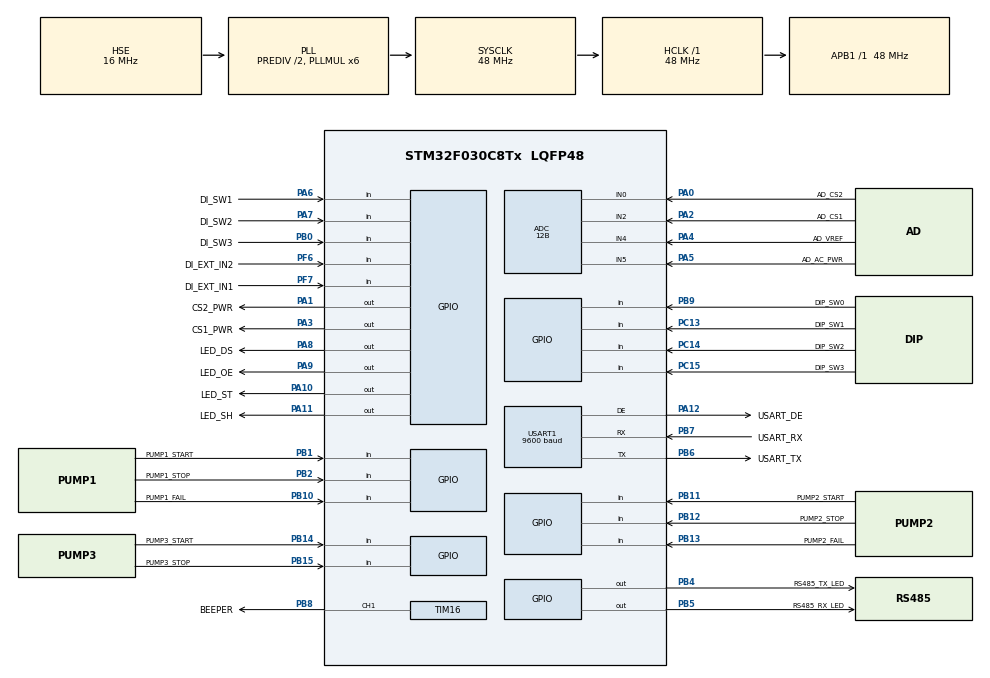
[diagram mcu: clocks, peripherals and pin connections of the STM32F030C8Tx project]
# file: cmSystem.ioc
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ADC.ClockPrescaler=ADC_CLOCK_ASYNC_DIV1
ADC.ContinuousConvMode=DISABLE
ADC.DMAContinuousRequests=ENABLE
ADC.DataAlign=ADC_DATAALIGN_RIGHT
ADC.DiscontinuousConvMode=DISABLE
ADC.EOCSelection=ADC_EOC_SEQ_CONV
ADC.EnableAnalogWatchDog=false
ADC.ExternalTrigConv=ADC_EXTERNALTRIGCONV_T15_TRGO
ADC.ExternalTrigConvEdge=ADC_EXTERNALTRIGCONVEDGE_RISING
ADC.LowPowerAutoPowerOff=DISABLE
ADC.LowPowerAutoWait=DISABLE
ADC.Overrun=ADC_OVR_DATA_OVERWRITTEN
ADC.Resolution=ADC_RESOLUTION_12B
ADC.SamplingTime=ADC_SAMPLETIME_71CYCLES_5
ADC.ScanConvMode=ADC_SCAN_DIRECTION_BACKWARD
Dma.ADC.0.Direction=DMA_PERIPH_TO_MEMORY
Dma.ADC.0.Instance=DMA1_Channel1
Dma.ADC.0.MemDataAlignment=DMA_MDATAALIGN_WORD
Dma.ADC.0.MemInc=DMA_MINC_ENABLE
Dma.ADC.0.Mode=DMA_CIRCULAR
Dma.ADC.0.PeriphDataAlignment=DMA_PDATAALIGN_WORD
Dma.ADC.0.PeriphInc=DMA_PINC_DISABLE
Dma.ADC.0.Priority=DMA_PRIORITY_LOW
Dma.Request0=ADC
Dma.Request1=USART1_RX
Dma.USART1_RX.1.Direction=DMA_PERIPH_TO_MEMORY
Dma.USART1_RX.1.Instance=DMA1_Channel3
Dma.USART1_RX.1.MemDataAlignment=DMA_MDATAALIGN_BYTE
Dma.USART1_RX.1.MemInc=DMA_MINC_ENABLE
Dma.USART1_RX.1.Mode=DMA_NORMAL
Dma.USART1_RX.1.PeriphDataAlignment=DMA_PDATAALIGN_BYTE
Dma.USART1_RX.1.PeriphInc=DMA_PINC_DISABLE
Dma.USART1_RX.1.Priority=DMA_PRIORITY_LOW
FREERTOS.INCLUDE_vTaskDelayUntil=1
FREERTOS.MEMORY_ALLOCATION=1
FREERTOS.Tasks01=defaultTask,-2,64,StartDefaultTask,Default,NULL,Static,defaultTaskBuffer,defaultTaskControlBlock;regularSample,0,64,sampleTask,Default,NULL,Static,regularSampleBuffer,regularSampleControlBlock;LedDisplay,-1,64,DisplayTask,Default,NULL,Static,LedDisplayBuffer,LedDisplayControlBlock
FREERTOS.configMAX_PRIORITIES=4
FREERTOS.configMINIMAL_STACK_SIZE=64
FREERTOS.configUSE_PREEMPTION=0
IWDG.Prescaler=IWDG_PRESCALER_256
IWDG.Reload=300
IWDG.Window=300
Mcu.Family=STM32F0
Mcu.Name=STM32F030C8Tx
Mcu.Package=LQFP48
NVIC.DMA1_Channel1_IRQn=true\:3\:0\:false\:false\:true\:true\:false
NVIC.DMA1_Channel2_3_IRQn=true\:3\:0\:false\:false\:true\:true\:false
NVIC.TIM14_IRQn=true\:3\:0\:false\:false\:true\:true\:true
NVIC.TIM6_IRQn=true\:0\:0\:false\:false\:true\:false\:false
NVIC.TimeBase=TIM6_IRQn
NVIC.TimeBaseIP=TIM6
NVIC.USART1_IRQn=true\:3\:0\:false\:false\:true\:true\:true
PA0.GPIO_Label=AD_CS2
PA0.Mode=IN0
PA0.Signal=ADC_IN0
PA1.GPIO_Label=CS2_PWR
PA1.Signal=GPIO_Output
PA10.GPIO_Label=LED_ST
PA10.Signal=GPIO_Output
PA11.GPIO_Label=LED_SH
PA11.Signal=GPIO_Output
PA12.GPIO_Label=USART_DE
PA12.Mode=Hardware Flow Control (RS485)
PA12.Signal=USART1_DE
PA13.Mode=Serial_Wire
PA13.Signal=SYS_SWDIO
PA14.Mode=Serial_Wire
PA14.Signal=SYS_SWCLK
PA2.GPIO_Label=AD_CS1
PA2.Mode=IN2
PA2.Signal=ADC_IN2
PA3.GPIO_Label=CS1_PWR
PA3.Signal=GPIO_Output
PA4.GPIO_Label=AD_VREF
PA4.Mode=IN4
PA4.Signal=ADC_IN4
PA5.GPIO_Label=AD_AC_PWR
PA5.Mode=IN5
PA5.Signal=ADC_IN5
PA6.GPIO_Label=DI_SW1
PA6.GPIO_PuPd=GPIO_NOPULL
PA6.Signal=GPIO_Input
PA7.GPIO_Label=DI_SW2
PA7.Signal=GPIO_Input
PA8.GPIO_Label=LED_DS
PA8.Signal=GPIO_Output
PA9.GPIO_Label=LED_OE
PA9.Signal=GPIO_Output
PB0.GPIO_Label=DI_SW3
PB0.Signal=GPIO_Input
PB1.GPIO_Label=PUMP1_START
PB1.Signal=GPIO_Input
PB10.GPIO_Label=PUMP1_FAIL
PB10.Signal=GPIO_Input
PB11.GPIO_Label=PUMP2_START
PB11.Signal=GPIO_Input
PB12.GPIO_Label=PUMP2_STOP
PB12.Signal=GPIO_Input
PB13.GPIO_Label=PUMP2_FAIL
PB13.Signal=GPIO_Input
PB14.GPIO_Label=PUMP3_START
PB14.Signal=GPIO_Input
PB15.GPIO_Label=PUMP3_STOP
PB15.Signal=GPIO_Input
PB2.GPIO_Label=PUMP1_STOP
PB2.Signal=GPIO_Input
PB4.GPIO_Label=RS485_TX_LED
PB4.PinState=GPIO_PIN_SET
PB4.Signal=GPIO_Output
PB5.GPIO_Label=RS485_RX_LED
PB5.PinState=GPIO_PIN_SET
PB5.Signal=GPIO_Output
PB6.GPIO_Label=USART_TX
PB6.Mode=Asynchronous
PB6.Signal=USART1_TX
PB7.GPIO_Label=USART_RX
PB7.Mode=Asynchronous
PB7.Signal=USART1_RX
PB8.GPIO_Label=BEEPER
PB8.Signal=S_TIM16_CH1
PB9.GPIO_Label=DIP_SW0
PB9.GPIO_PuPd=GPIO_PULLUP
PB9.Signal=GPIO_Input
PC13.GPIO_Label=DIP_SW1
PC13.GPIO_PuPd=GPIO_PULLUP
PC13.Signal=GPIO_Input
PC14-OSC32_IN.GPIO_Label=DIP_SW2
PC14-OSC32_IN.GPIO_PuPd=GPIO_PULLUP
PC14-OSC32_IN.Signal=GPIO_Input
PC15-OSC32_OUT.GPIO_Label=DIP_SW3
PC15-OSC32_OUT.GPIO_PuPd=GPIO_PULLUP
PC15-OSC32_OUT.Signal=GPIO_Input
PF0-OSC_IN.Mode=HSE-External-Oscillator
PF0-OSC_IN.Signal=RCC_OSC_IN
PF1-OSC_OUT.Mode=HSE-External-Oscillator
PF1-OSC_OUT.Signal=RCC_OSC_OUT
PF6.GPIO_Label=DI_EXT_IN2
PF6.GPIO_PuPd=GPIO_NOPULL
PF6.Signal=GPIO_Input
PF7.GPIO_Label=DI_EXT_IN1
PF7.GPIO_PuPd=GPIO_NOPULL
PF7.Signal=GPIO_Input
ProjectManager.HeapSize=0x200
ProjectManager.StackSize=0x400
ProjectManager.TargetToolchain=MDK-ARM V5
RCC.AHBFreq_Value=48000000
RCC.APB1Freq_Value=48000000
RCC.APB1TimFreq_Value=48000000
RCC.EnbaleCSS=true
RCC.HCLKFreq_Value=48000000
RCC.HSE_VALUE=16000000
RCC.PLLDivider=RCC_PREDIV_DIV2
RCC.PLLMUL=RCC_PLL_MUL6
RCC.PLLSourceVirtual=RCC_PLLSOURCE_HSE
RCC.RTCClockSelection=RCC_RTCCLKSOURCE_HSE_DIV32
RCC.SYSCLKFreq_VALUE=48000000
RCC.SYSCLKSource=RCC_SYSCLKSOURCE_PLLCLK
SH.S_TIM16_CH1.0=TIM16_CH1,PWM Generation1 CH1
TIM14.AutoReloadPreload=TIM_AUTORELOAD_PRELOAD_ENABLE
TIM14.Period=100
TIM14.Prescaler=480
TIM15.AutoReloadPreload=TIM_AUTORELOAD_PRELOAD_ENABLE
TIM15.Channel-PWM\ Generation1\ No\ Output=TIM_CHANNEL_1
TIM15.Period=1000
TIM15.Prescaler=15
TIM15.Pulse-PWM\ Generation1\ No\ Output=1
TIM15.RepetitionCounter=0
TIM15.TIM_MasterOutputTrigger=TIM_TRGO_UPDATE
TIM16.AutoReloadPreload=TIM_AUTORELOAD_PRELOAD_ENABLE
TIM16.Channel=TIM_CHANNEL_1
TIM16.OCIdleState_1=TIM_OCIDLESTATE_RESET
TIM16.Period=100
TIM16.Prescaler=120
TIM16.Pulse=50
TIM16.RepetitionCounter=0
USART1.BaudRate=9600
USART1.StopBits=STOPBITS_2
USART1.VirtualMode-Asynchronous=VM_ASYNC
USART1.VirtualMode-Hardware\ Flow\ Control\ (RS485)=VM_ASYNC
VP_ADC_Vref_Input.Mode=IN-Vrefint
VP_FREERTOS_VS_ENABLE.Mode=Enabled
VP_IWDG_VS_IWDG.Mode=IWDG_Activate
VP_SYS_VS_tim6.Mode=TIM6
VP_TIM14_VS_ClockSourceINT.Mode=Enable_Timer
VP_TIM15_VS_no_output1.Mode=PWM Generation1 No Output
VP_TIM16_VS_ClockSourceINT.Mode=Enable_Timer
board=custom

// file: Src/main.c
/**
  ******************************************************************************
  * @file           : main.c
  * @brief          : Main program body
  ******************************************************************************
  * This notice applies to any and all portions of this file
  * that are not between comment pairs USER CODE BEGIN and
  * USER CODE END. Other portions of this file, whether
  * inserted by the user or by software development tools
  * are owned by their respective copyright owners.
  *
  * Copyright (c) 2018 STMicroelectronics International N.V.
  * All rights reserved.
  *
  * Redistribution and use in source and binary forms, with or without
  * modification, are permitted, provided that the following conditions are met:
  *
  * 1. Redistribution of source code must retain the above copyright notice,
  *    this list of conditions and the following disclaimer.
  * 2. Redistributions in binary form must reproduce the above copyright notice,
  *    this list of conditions and the following disclaimer in the documentation
  *    and/or other materials provided with the distribution.
  * 3. Neither the name of STMicroelectronics nor the names of other
  *    contributors to this software may be used to endorse or promote products
  *    derived from this software without specific written permission.
  * 4. This software, including modifications and/or derivative works of this
  *    software, must execute solely and exclusively on microcontroller or
  *    microprocessor devices manufactured by or for STMicroelectronics.
  * 5. Redistribution and use of this software other than as permitted under
  *    this license is void and will automatically terminate your rights under
  *    this license.
  *
  * THIS SOFTWARE IS PROVIDED BY STMICROELECTRONICS AND CONTRIBUTORS "AS IS"
  * AND ANY EXPRESS, IMPLIED OR STATUTORY WARRANTIES, INCLUDING, BUT NOT
  * LIMITED TO, THE IMPLIED WARRANTIES OF MERCHANTABILITY, FITNESS FOR A
  * PARTICULAR PURPOSE AND NON-INFRINGEMENT OF THIRD PARTY INTELLECTUAL PROPERTY
  * RIGHTS ARE DISCLAIMED TO THE FULLEST EXTENT PERMITTED BY LAW. IN NO EVENT
  * SHALL STMICROELECTRONICS OR CONTRIBUTORS BE LIABLE FOR ANY DIRECT, INDIRECT,
  * INCIDENTAL, SPECIAL, EXEMPLARY, OR CONSEQUENTIAL DAMAGES (INCLUDING, BUT NOT
  * LIMITED TO, PROCUREMENT OF SUBSTITUTE GOODS OR SERVICES; LOSS OF USE, DATA,
  * OR PROFITS; OR BUSINESS INTERRUPTION) HOWEVER CAUSED AND ON ANY THEORY OF
  * LIABILITY, WHETHER IN CONTRACT, STRICT LIABILITY, OR TORT (INCLUDING
  * NEGLIGENCE OR OTHERWISE) ARISING IN ANY WAY OUT OF THE USE OF THIS SOFTWARE,
  * EVEN IF ADVISED OF THE POSSIBILITY OF SUCH DAMAGE.
  *
  ******************************************************************************
  */
#include "main.h"
#include "stm32f0xx_hal.h"
#include "cmsis_os.h"

/* USER CODE BEGIN Includes */
#include "bsp.h"
#include <stdio.h>
#include <string.h>
/* USER CODE END Includes */

ADC_HandleTypeDef hadc;
DMA_HandleTypeDef hdma_adc;

IWDG_HandleTypeDef hiwdg;

TIM_HandleTypeDef htim14;
TIM_HandleTypeDef htim15;
TIM_HandleTypeDef htim16;

UART_HandleTypeDef huart1;
DMA_HandleTypeDef hdma_usart1_rx;

osThreadId defaultTaskHandle;
uint32_t defaultTaskBuffer[ 64 ];
osStaticThreadDef_t defaultTaskControlBlock;
osThreadId regularSampleHandle;
uint32_t regularSampleBuffer[ 64 ];
osStaticThreadDef_t regularSampleControlBlock;
osThreadId LedDisplayHandle;
uint32_t LedDisplayBuffer[ 64 ];
osStaticThreadDef_t LedDisplayControlBlock;

/* USER CODE BEGIN PV */
/* Private variables ---------------------------------------------------------*/
const char cmd_read_statu1[]	=	{0x01,0x03,0x00,0x00,0x00,0x01,0x84,0x0a};
const char cmd_read_pres1[]		=	{0x0B,0x03,0x00,0x04,0x00,0x01,0xC5,0x61};
const char cmd_read_pres2[]		=	{0x0C,0x03,0x00,0x04,0x00,0x01,0xC4,0xD6};

const char cmd_read_statu2[]	=	{0x02,0x03,0x00,0x00,0x00,0x01,0x84,0x39};
const char cmd_read_pres3[]		=	{0x0D,0x03,0x00,0x04,0x00,0x01,0xC5,0x07};
const char cmd_read_pres4[]		=	{0x0E,0x03,0x00,0x04,0x00,0x01,0xC5,0x34};

const char cmd_read_all1[] 		= {0x01,0x64,0x00,0x00,0x00,0x01,0xB1,0xC2};
const char cmd_read_para1[] 	= {0x01,0x65,0x00,0x00,0x00,0x01,0x8C,0x02};
const char cmd_write_para1[]	= {0x01,0x66,0x00,0x00,0x00,0x01,0xC8,0x02};

const char cmd_read_all2[] 		= {0x02,0x64,0x00,0x00,0x00,0x01,0xB1,0xF1};
const char cmd_read_para2[] 	= {0x02,0x65,0x00,0x00,0x00,0x01,0x8C,0x31};
const char cmd_write_para2[]	= {0x02,0x66,0x00,0x00,0x00,0x01,0xC8,0x31};

s_sys_para sys_para;
uint32_t adc_buf[5];
int32_t avg_vref, avg_ac, avg_v1650, avg_cs1, avg_cs2;
/* USER CODE END PV */

void SystemClock_Config(void);
static void MX_GPIO_Init(void);
static void MX_DMA_Init(void);
static void MX_USART1_UART_Init(void);
static void MX_ADC_Init(void);
static void MX_TIM16_Init(void);
static void MX_TIM14_Init(void);
static void MX_TIM15_Init(void);
static void MX_IWDG_Init(void);
void StartDefaultTask(void const * argument);
void sampleTask(void const * argument);
void DisplayTask(void const * argument);

void HAL_TIM_MspPostInit(TIM_HandleTypeDef *htim);

/* USER CODE BEGIN PFP */
/* Private function prototypes -----------------------------------------------*/

/* USER CODE END PFP */

/* USER CODE BEGIN 0 */
uint8_t usart_buff[RS485_BUFF_MAX];
uint8_t usart_rx_cplt;
uint8_t response_buff[64];

u_ac_state ac_state;
u_dc_state dc_state;
/* USER CODE END 0 */

int main(void)
{

  /* MCU Configuration----------------------------------------------------------*/

  /* Reset of all peripherals, Initializes the Flash interface and the Systick. */
  HAL_Init();

  /* USER CODE BEGIN Init */
	memcpy(&sys_para, (void *)parama_save_addr, sizeof(s_sys_para));
	if((sys_para.pres1_k <=0) || (sys_para.pres1_k >=5000)) {
		sys_para.pres1_k = 1000;
	}
	if(sys_para.pres1_b >= 1000) {
		sys_para.pres1_b = 0;
	}

	if((sys_para.pres2_k <=0) || (sys_para.pres2_k >=5000)) {
		sys_para.pres1_k = 1000;
	}
	if(sys_para.pres2_b >= 1000) {
		sys_para.pres2_b = 0;
	}

  /* USER CODE END Init */

  /* Configure the system clock */
  SystemClock_Config();

  /* Initialize all configured peripherals */
  MX_GPIO_Init();
  MX_DMA_Init();
  MX_USART1_UART_Init();
  MX_ADC_Init();
  MX_TIM16_Init();
  MX_TIM14_Init();
  MX_TIM15_Init();
  MX_IWDG_Init();
  /* USER CODE BEGIN 2 */
	HAL_ADCEx_Calibration_Start(&hadc);
	HAL_TIM_PWM_Start(&htim15, TIM_CHANNEL_1);
	HAL_ADC_Start_DMA(&hadc, adc_buf, 5);

	HAL_TIM_PWM_Start(&htim16, TIM_CHANNEL_1);
	HAL_Delay(200);
	HAL_TIM_PWM_Stop(&htim16, TIM_CHANNEL_1);
	HAL_IWDG_Refresh(&hiwdg);
  /* USER CODE END 2 */

  /* Create the thread(s) */
  /* definition and creation of defaultTask */
  osThreadStaticDef(defaultTask, StartDefaultTask, osPriorityLow, 0, 64, defaultTaskBuffer, &defaultTaskControlBlock);
  defaultTaskHandle = osThreadCreate(osThread(defaultTask), NULL);

  /* definition and creation of regularSample */
  osThreadStaticDef(regularSample, sampleTask, osPriorityNormal, 0, 64, regularSampleBuffer, &regularSampleControlBlock);
  regularSampleHandle = osThreadCreate(osThread(regularSample), NULL);

  /* definition and creation of LedDisplay */
  osThreadStaticDef(LedDisplay, DisplayTask, osPriorityBelowNormal, 0, 64, LedDisplayBuffer, &LedDisplayControlBlock);
  LedDisplayHandle = osThreadCreate(osThread(LedDisplay), NULL);

  /* Start scheduler */
  osKernelStart();

  /* We should never get here as control is now taken by the scheduler */

  /* Infinite loop */
  while (1)
  {

  }

}

void SystemClock_Config(void)
{

  RCC_OscInitTypeDef RCC_OscInitStruct;
  RCC_ClkInitTypeDef RCC_ClkInitStruct;
  RCC_PeriphCLKInitTypeDef PeriphClkInit;

    /**Initializes the CPU, AHB and APB busses clocks
    */
  RCC_OscInitStruct.OscillatorType = RCC_OSCILLATORTYPE_HSI14|RCC_OSCILLATORTYPE_LSI
                              |RCC_OSCILLATORTYPE_HSE;
  RCC_OscInitStruct.HSEState = RCC_HSE_ON;
  RCC_OscInitStruct.HSI14State = RCC_HSI14_ON;
  RCC_OscInitStruct.HSI14CalibrationValue = 16;
  RCC_OscInitStruct.LSIState = RCC_LSI_ON;
  RCC_OscInitStruct.PLL.PLLState = RCC_PLL_ON;
  RCC_OscInitStruct.PLL.PLLSource = RCC_PLLSOURCE_HSE;
  RCC_OscInitStruct.PLL.PLLMUL = RCC_PLL_MUL6;
  RCC_OscInitStruct.PLL.PREDIV = RCC_PREDIV_DIV2;
  if (HAL_RCC_OscConfig(&RCC_OscInitStruct) != HAL_OK)
  {
    _Error_Handler(__FILE__, __LINE__);
  }

    /**Initializes the CPU, AHB and APB busses clocks
    */
  RCC_ClkInitStruct.ClockType = RCC_CLOCKTYPE_HCLK|RCC_CLOCKTYPE_SYSCLK
                              |RCC_CLOCKTYPE_PCLK1;
  RCC_ClkInitStruct.SYSCLKSource = RCC_SYSCLKSOURCE_PLLCLK;
  RCC_ClkInitStruct.AHBCLKDivider = RCC_SYSCLK_DIV1;
  RCC_ClkInitStruct.APB1CLKDivider = RCC_HCLK_DIV1;

  if (HAL_RCC_ClockConfig(&RCC_ClkInitStruct, FLASH_LATENCY_1) != HAL_OK)
  {
    _Error_Handler(__FILE__, __LINE__);
  }

  PeriphClkInit.PeriphClockSelection = RCC_PERIPHCLK_USART1;
  PeriphClkInit.Usart1ClockSelection = RCC_USART1CLKSOURCE_PCLK1;
  if (HAL_RCCEx_PeriphCLKConfig(&PeriphClkInit) != HAL_OK)
  {
    _Error_Handler(__FILE__, __LINE__);
  }

    /**Enables the Clock Security System
    */
  HAL_RCC_EnableCSS();

    /**Configure the Systick interrupt time
    */
  HAL_SYSTICK_Config(HAL_RCC_GetHCLKFreq()/1000);

    /**Configure the Systick
    */
  HAL_SYSTICK_CLKSourceConfig(SYSTICK_CLKSOURCE_HCLK);

  /* SysTick_IRQn interrupt configuration */
  HAL_NVIC_SetPriority(SysTick_IRQn, 3, 0);
}

/* ADC init function */
static void MX_ADC_Init(void)
{

  ADC_ChannelConfTypeDef sConfig;

    /**Configure the global features of the ADC (Clock, Resolution, Data Alignment and number of conversion)
    */
  hadc.Instance = ADC1;
  hadc.Init.ClockPrescaler = ADC_CLOCK_ASYNC_DIV1;
  hadc.Init.Resolution = ADC_RESOLUTION_12B;
  hadc.Init.DataAlign = ADC_DATAALIGN_RIGHT;
  hadc.Init.ScanConvMode = ADC_SCAN_DIRECTION_BACKWARD;
  hadc.Init.EOCSelection = ADC_EOC_SEQ_CONV;
  hadc.Init.LowPowerAutoWait = DISABLE;
  hadc.Init.LowPowerAutoPowerOff = DISABLE;
  hadc.Init.ContinuousConvMode = DISABLE;
  hadc.Init.DiscontinuousConvMode = DISABLE;
  hadc.Init.ExternalTrigConv = ADC_EXTERNALTRIGCONV_T15_TRGO;
  hadc.Init.ExternalTrigConvEdge = ADC_EXTERNALTRIGCONVEDGE_RISING;
  hadc.Init.DMAContinuousRequests = ENABLE;
  hadc.Init.Overrun = ADC_OVR_DATA_OVERWRITTEN;
  if (HAL_ADC_Init(&hadc) != HAL_OK)
  {
    _Error_Handler(__FILE__, __LINE__);
  }

    /**Configure for the selected ADC regular channel to be converted.
    */
  sConfig.Channel = ADC_CHANNEL_0;
  sConfig.Rank = ADC_RANK_CHANNEL_NUMBER;
  sConfig.SamplingTime = ADC_SAMPLETIME_71CYCLES_5;
  if (HAL_ADC_ConfigChannel(&hadc, &sConfig) != HAL_OK)
  {
    _Error_Handler(__FILE__, __LINE__);
  }

    /**Configure for the selected ADC regular channel to be converted.
    */
  sConfig.Channel = ADC_CHANNEL_2;
  if (HAL_ADC_ConfigChannel(&hadc, &sConfig) != HAL_OK)
  {
    _Error_Handler(__FILE__, __LINE__);
  }

    /**Configure for the selected ADC regular channel to be converted.
    */
  sConfig.Channel = ADC_CHANNEL_4;
  if (HAL_ADC_ConfigChannel(&hadc, &sConfig) != HAL_OK)
  {
    _Error_Handler(__FILE__, __LINE__);
  }

    /**Configure for the selected ADC regular channel to be converted.
    */
  sConfig.Channel = ADC_CHANNEL_5;
  if (HAL_ADC_ConfigChannel(&hadc, &sConfig) != HAL_OK)
  {
    _Error_Handler(__FILE__, __LINE__);
  }

    /**Configure for the selected ADC regular channel to be converted.
    */
  sConfig.Channel = ADC_CHANNEL_VREFINT;
  if (HAL_ADC_ConfigChannel(&hadc, &sConfig) != HAL_OK)
  {
    _Error_Handler(__FILE__, __LINE__);
  }

}

/* IWDG init function */
static void MX_IWDG_Init(void)
{

  hiwdg.Instance = IWDG;
  hiwdg.Init.Prescaler = IWDG_PRESCALER_256;
  hiwdg.Init.Window = 300;
  hiwdg.Init.Reload = 300;
  if (HAL_IWDG_Init(&hiwdg) != HAL_OK)
  {
    _Error_Handler(__FILE__, __LINE__);
  }

}

/* TIM14 init function */
static void MX_TIM14_Init(void)
{

  htim14.Instance = TIM14;
  htim14.Init.Prescaler = 480;
  htim14.Init.CounterMode = TIM_COUNTERMODE_UP;
  htim14.Init.Period = 100;
  htim14.Init.ClockDivision = TIM_CLOCKDIVISION_DIV1;
  htim14.Init.AutoReloadPreload = TIM_AUTORELOAD_PRELOAD_ENABLE;
  if (HAL_TIM_Base_Init(&htim14) != HAL_OK)
  {
    _Error_Handler(__FILE__, __LINE__);
  }

}

/* TIM15 init function */
static void MX_TIM15_Init(void)
{

  TIM_MasterConfigTypeDef sMasterConfig;
  TIM_OC_InitTypeDef sConfigOC;
  TIM_BreakDeadTimeConfigTypeDef sBreakDeadTimeConfig;

  htim15.Instance = TIM15;
  htim15.Init.Prescaler = 15;
  htim15.Init.CounterMode = TIM_COUNTERMODE_UP;
  htim15.Init.Period = 1000;
  htim15.Init.ClockDivision = TIM_CLOCKDIVISION_DIV1;
  htim15.Init.RepetitionCounter = 0;
  htim15.Init.AutoReloadPreload = TIM_AUTORELOAD_PRELOAD_ENABLE;
  if (HAL_TIM_PWM_Init(&htim15) != HAL_OK)
  {
    _Error_Handler(__FILE__, __LINE__);
  }

  sMasterConfig.MasterOutputTrigger = TIM_TRGO_UPDATE;
  sMasterConfig.MasterSlaveMode = TIM_MASTERSLAVEMODE_DISABLE;
  if (HAL_TIMEx_MasterConfigSynchronization(&htim15, &sMasterConfig) != HAL_OK)
  {
    _Error_Handler(__FILE__, __LINE__);
  }

  sConfigOC.OCMode = TIM_OCMODE_PWM1;
  sConfigOC.Pulse = 1;
  sConfigOC.OCPolarity = TIM_OCPOLARITY_HIGH;
  sConfigOC.OCNPolarity = TIM_OCNPOLARITY_HIGH;
  sConfigOC.OCFastMode = TIM_OCFAST_DISABLE;
  sConfigOC.OCIdleState = TIM_OCIDLESTATE_RESET;
  sConfigOC.OCNIdleState = TIM_OCNIDLESTATE_RESET;
  if (HAL_TIM_PWM_ConfigChannel(&htim15, &sConfigOC, TIM_CHANNEL_1) != HAL_OK)
  {
    _Error_Handler(__FILE__, __LINE__);
  }

  sBreakDeadTimeConfig.OffStateRunMode = TIM_OSSR_DISABLE;
  sBreakDeadTimeConfig.OffStateIDLEMode = TIM_OSSI_DISABLE;
  sBreakDeadTimeConfig.LockLevel = TIM_LOCKLEVEL_OFF;
  sBreakDeadTimeConfig.DeadTime = 0;
  sBreakDeadTimeConfig.BreakState = TIM_BREAK_DISABLE;
  sBreakDeadTimeConfig.BreakPolarity = TIM_BREAKPOLARITY_HIGH;
  sBreakDeadTimeConfig.AutomaticOutput = TIM_AUTOMATICOUTPUT_DISABLE;
  if (HAL_TIMEx_ConfigBreakDeadTime(&htim15, &sBreakDeadTimeConfig) != HAL_OK)
  {
    _Error_Handler(__FILE__, __LINE__);
  }

}

/* TIM16 init function */
static void MX_TIM16_Init(void)
{

  TIM_OC_InitTypeDef sConfigOC;
  TIM_BreakDeadTimeConfigTypeDef sBreakDeadTimeConfig;

  htim16.Instance = TIM16;
  htim16.Init.Prescaler = 120;
  htim16.Init.CounterMode = TIM_COUNTERMODE_UP;
  htim16.Init.Period = 100;
  htim16.Init.ClockDivision = TIM_CLOCKDIVISION_DIV1;
  htim16.Init.RepetitionCounter = 0;
  htim16.Init.AutoReloadPreload = TIM_AUTORELOAD_PRELOAD_ENABLE;
  if (HAL_TIM_Base_Init(&htim16) != HAL_OK)
  {
    _Error_Handler(__FILE__, __LINE__);
  }

  if (HAL_TIM_PWM_Init(&htim16) != HAL_OK)
  {
    _Error_Handler(__FILE__, __LINE__);
  }

  sConfigOC.OCMode = TIM_OCMODE_PWM1;
  sConfigOC.Pulse = 50;
  sConfigOC.OCPolarity = TIM_OCPOLARITY_HIGH;
  sConfigOC.OCNPolarity = TIM_OCNPOLARITY_HIGH;
  sConfigOC.OCFastMode = TIM_OCFAST_DISABLE;
  sConfigOC.OCIdleState = TIM_OCIDLESTATE_RESET;
  sConfigOC.OCNIdleState = TIM_OCNIDLESTATE_RESET;
  if (HAL_TIM_PWM_ConfigChannel(&htim16, &sConfigOC, TIM_CHANNEL_1) != HAL_OK)
  {
    _Error_Handler(__FILE__, __LINE__);
  }

  sBreakDeadTimeConfig.OffStateRunMode = TIM_OSSR_DISABLE;
  sBreakDeadTimeConfig.OffStateIDLEMode = TIM_OSSI_DISABLE;
  sBreakDeadTimeConfig.LockLevel = TIM_LOCKLEVEL_OFF;
  sBreakDeadTimeConfig.DeadTime = 0;
  sBreakDeadTimeConfig.BreakState = TIM_BREAK_DISABLE;
  sBreakDeadTimeConfig.BreakPolarity = TIM_BREAKPOLARITY_HIGH;
  sBreakDeadTimeConfig.AutomaticOutput = TIM_AUTOMATICOUTPUT_DISABLE;
  if (HAL_TIMEx_ConfigBreakDeadTime(&htim16, &sBreakDeadTimeConfig) != HAL_OK)
  {
    _Error_Handler(__FILE__, __LINE__);
  }

  HAL_TIM_MspPostInit(&htim16);

}

/* USART1 init function */
static void MX_USART1_UART_Init(void)
{

  huart1.Instance = USART1;
  huart1.Init.BaudRate = 9600;
  huart1.Init.WordLength = UART_WORDLENGTH_8B;
  huart1.Init.StopBits = UART_STOPBITS_2;
  huart1.Init.Parity = UART_PARITY_NONE;
  huart1.Init.Mode = UART_MODE_TX_RX;
  huart1.Init.HwFlowCtl = UART_HWCONTROL_NONE;
  huart1.Init.OverSampling = UART_OVERSAMPLING_16;
  huart1.Init.OneBitSampling = UART_ONE_BIT_SAMPLE_DISABLE;
  huart1.AdvancedInit.AdvFeatureInit = UART_ADVFEATURE_NO_INIT;
  if (HAL_RS485Ex_Init(&huart1, UART_DE_POLARITY_HIGH, 0, 0) != HAL_OK)
  {
    _Error_Handler(__FILE__, __LINE__);
  }

}

static void MX_DMA_Init(void)
{
  /* DMA controller clock enable */
  __HAL_RCC_DMA1_CLK_ENABLE();

  /* DMA interrupt init */
  /* DMA1_Channel1_IRQn interrupt configuration */
  HAL_NVIC_SetPriority(DMA1_Channel1_IRQn, 3, 0);
  HAL_NVIC_EnableIRQ(DMA1_Channel1_IRQn);
  /* DMA1_Channel2_3_IRQn interrupt configuration */
  HAL_NVIC_SetPriority(DMA1_Channel2_3_IRQn, 3, 0);
  HAL_NVIC_EnableIRQ(DMA1_Channel2_3_IRQn);

}

/** Configure pins as
        * Analog
        * Input
        * Output
        * EVENT_OUT
        * EXTI
        * Free pins are configured automatically as Analog (this feature is enabled through
        * the Code Generation settings)
*/
static void MX_GPIO_Init(void)
{

  GPIO_InitTypeDef GPIO_InitStruct;

  /* GPIO Ports Clock Enable */
  __HAL_RCC_GPIOC_CLK_ENABLE();
  __HAL_RCC_GPIOF_CLK_ENABLE();
  __HAL_RCC_GPIOA_CLK_ENABLE();
  __HAL_RCC_GPIOB_CLK_ENABLE();

  /*Configure GPIO pin Output Level */
  HAL_GPIO_WritePin(GPIOA, CS2_PWR_Pin|CS1_PWR_Pin|LED_DS_Pin|LED_OE_Pin
                          |LED_ST_Pin|LED_SH_Pin, GPIO_PIN_RESET);

  /*Configure GPIO pin Output Level */
  HAL_GPIO_WritePin(GPIOB, RS485_TX_LED_Pin|RS485_RX_LED_Pin, GPIO_PIN_SET);

  /*Configure GPIO pins : DIP_SW1_Pin DIP_SW2_Pin DIP_SW3_Pin */
  GPIO_InitStruct.Pin = DIP_SW1_Pin|DIP_SW2_Pin|DIP_SW3_Pin;
  GPIO_InitStruct.Mode = GPIO_MODE_INPUT;
  GPIO_InitStruct.Pull = GPIO_PULLUP;
  HAL_GPIO_Init(GPIOC, &GPIO_InitStruct);

  /*Configure GPIO pins : CS2_PWR_Pin CS1_PWR_Pin LED_DS_Pin LED_OE_Pin
                           LED_ST_Pin LED_SH_Pin */
  GPIO_InitStruct.Pin = CS2_PWR_Pin|CS1_PWR_Pin|LED_DS_Pin|LED_OE_Pin
                          |LED_ST_Pin|LED_SH_Pin;
  GPIO_InitStruct.Mode = GPIO_MODE_OUTPUT_PP;
  GPIO_InitStruct.Pull = GPIO_NOPULL;
  GPIO_InitStruct.Speed = GPIO_SPEED_FREQ_LOW;
  HAL_GPIO_Init(GPIOA, &GPIO_InitStruct);

  /*Configure GPIO pins : DI_SW1_Pin DI_SW2_Pin */
  GPIO_InitStruct.Pin = DI_SW1_Pin|DI_SW2_Pin;
  GPIO_InitStruct.Mode = GPIO_MODE_INPUT;
  GPIO_InitStruct.Pull = GPIO_NOPULL;
  HAL_GPIO_Init(GPIOA, &GPIO_InitStruct);

  /*Configure GPIO pins : DI_SW3_Pin PUMP1_START_Pin PUMP1_STOP_Pin PUMP1_FAIL_Pin
                           PUMP2_START_Pin PUMP2_STOP_Pin PUMP2_FAIL_Pin PUMP3_START_Pin
                           PUMP3_STOP_Pin */
  GPIO_InitStruct.Pin = DI_SW3_Pin|PUMP1_START_Pin|PUMP1_STOP_Pin|PUMP1_FAIL_Pin
                          |PUMP2_START_Pin|PUMP2_STOP_Pin|PUMP2_FAIL_Pin|PUMP3_START_Pin
                          |PUMP3_STOP_Pin;
  GPIO_InitStruct.Mode = GPIO_MODE_INPUT;
  GPIO_InitStruct.Pull = GPIO_NOPULL;
  HAL_GPIO_Init(GPIOB, &GPIO_InitStruct);

  /*Configure GPIO pins : DI_EXT_IN2_Pin DI_EXT_IN1_Pin */
  GPIO_InitStruct.Pin = DI_EXT_IN2_Pin|DI_EXT_IN1_Pin;
  GPIO_InitStruct.Mode = GPIO_MODE_INPUT;
  GPIO_InitStruct.Pull = GPIO_NOPULL;
  HAL_GPIO_Init(GPIOF, &GPIO_InitStruct);

  /*Configure GPIO pin : PA15 */
  GPIO_InitStruct.Pin = GPIO_PIN_15;
  GPIO_InitStruct.Mode = GPIO_MODE_ANALOG;
  GPIO_InitStruct.Pull = GPIO_NOPULL;
  HAL_GPIO_Init(GPIOA, &GPIO_InitStruct);

  /*Configure GPIO pin : PB3 */
  GPIO_InitStruct.Pin = GPIO_PIN_3;
  GPIO_InitStruct.Mode = GPIO_MODE_ANALOG;
  GPIO_InitStruct.Pull = GPIO_NOPULL;
  HAL_GPIO_Init(GPIOB, &GPIO_InitStruct);

  /*Configure GPIO pins : RS485_TX_LED_Pin RS485_RX_LED_Pin */
  GPIO_InitStruct.Pin = RS485_TX_LED_Pin|RS485_RX_LED_Pin;
  GPIO_InitStruct.Mode = GPIO_MODE_OUTPUT_PP;
  GPIO_InitStruct.Pull = GPIO_NOPULL;
  GPIO_InitStruct.Speed = GPIO_SPEED_FREQ_LOW;
  HAL_GPIO_Init(GPIOB, &GPIO_InitStruct);

  /*Configure GPIO pin : DIP_SW0_Pin */
  GPIO_InitStruct.Pin = DIP_SW0_Pin;
  GPIO_InitStruct.Mode = GPIO_MODE_INPUT;
  GPIO_InitStruct.Pull = GPIO_PULLUP;
  HAL_GPIO_Init(DIP_SW0_GPIO_Port, &GPIO_InitStruct);

}

/* USER CODE BEGIN 4 */
uint16_t get_ac220(void) {
	return (uint16_t)(avg_ac*3300.0*221/(4095*8.985*51));
}

int16_t get_pres(uint8_t num) {
int16_t pres=0;
	if(num == 1) {
		if(avg_cs1 == 0) {
			return 0;
		} else {
			pres = ((3300.0*avg_cs1)/(4095.0)*0.625-250)*(sys_para.pres1_k/1000.0)+sys_para.pres1_b;
		}
	} else if(num==2) {
		if(avg_cs2 == 0) {
			return 0;
		} else {
			pres = ((3300.0*avg_cs2)/(4095.0)*0.625-250)*(sys_para.pres2_k/1000.0)+sys_para.pres2_b;
		}
	}
	return pres;
}

void HAL_ADC_ConvCpltCallback(ADC_HandleTypeDef* hadc) {
static int32_t sum_vref, sum_ac, sum_v1650, sum_cs1, sum_cs2;
static int16_t vref[FILTER_BUFF_SIZE], ac[FILTER_BUFF_SIZE];
static int16_t v1650[FILTER_BUFF_SIZE], cs1[FILTER_BUFF_SIZE], cs2[FILTER_BUFF_SIZE];
static int8_t index;
static int32_t ac_temp;

	sum_vref -= vref[index];
	vref[index] = adc_buf[0];
	sum_vref += vref[index];

	sum_v1650 -= v1650[index];
	v1650[index] = adc_buf[2];
	sum_v1650 += v1650[index];

	sum_cs1 -= cs1[index];
	cs1[index] = adc_buf[3];
	sum_cs1 += cs1[index];

	sum_cs2 -= cs2[index];
	cs2[index] = adc_buf[4];
	sum_cs2 += cs2[index];

	ac_temp += (adc_buf[1]-2060)*(adc_buf[1]-2060);

	if(++index >= FILTER_BUFF_SIZE) {
	static uint8_t ac_index;

		index = 0;
		sum_ac -= ac[ac_index];
		ac[ac_index] = sqrt(ac_temp/32);
		sum_ac += ac[ac_index];
		ac_temp = 0;

		if(++ac_index >= FILTER_BUFF_SIZE) {
			ac_index = 0;
		}
	}

	avg_vref = sum_vref/FILTER_BUFF_SIZE;
	avg_ac = sum_ac/FILTER_BUFF_SIZE;
	avg_v1650 = sum_v1650/FILTER_BUFF_SIZE;
	avg_cs1 = sum_cs1/FILTER_BUFF_SIZE;
	avg_cs2 = sum_cs2/FILTER_BUFF_SIZE;

	//if voltage greater than 3v, power off output.
	if(avg_cs1 >= 3722) {
		HAL_GPIO_WritePin(CS1_PWR_GPIO_Port, CS1_PWR_Pin, GPIO_PIN_RESET);
	}

	//if voltage greater than 3v, power off output.
	if(avg_cs2 >= 3722) {
		HAL_GPIO_WritePin(CS2_PWR_GPIO_Port, CS2_PWR_Pin, GPIO_PIN_RESET);
	}
}

/* USER CODE END 4 */

void StartDefaultTask(void const * argument)
{

  /* USER CODE BEGIN 5 */
uint32_t PreviousWakeTime = osKernelSysTick();
  /* Infinite loop */
  for(;;)
  {
		if(sys_para.cs1_switch != 0) {
			HAL_GPIO_WritePin(CS1_PWR_GPIO_Port, CS1_PWR_Pin, GPIO_PIN_SET);
		} else {
			HAL_GPIO_WritePin(CS1_PWR_GPIO_Port, CS1_PWR_Pin, GPIO_PIN_RESET);
		}
		if(sys_para.cs2_switch != 0) {
			HAL_GPIO_WritePin(CS2_PWR_GPIO_Port, CS2_PWR_Pin, GPIO_PIN_SET);
		} else {
			HAL_GPIO_WritePin(CS2_PWR_GPIO_Port, CS2_PWR_Pin, GPIO_PIN_SET);
		}

		HAL_IWDG_Refresh(&hiwdg);
    osDelayUntil(&PreviousWakeTime, 1000);
  }
  /* USER CODE END 5 */
}

void sampleTask(void const * argument)
{
  /* USER CODE BEGIN sampleTask */
uint32_t PreviousWakeTime = osKernelSysTick();
uint8_t response_buff[64];
uint16_t receive_cnt, mb_crc;
uint8_t addr;

	__HAL_UART_CLEAR_IDLEFLAG(&huart1);
	__HAL_UART_ENABLE_IT(&huart1, UART_IT_IDLE);
	HAL_UART_Receive_DMA(&huart1, usart_buff, RS485_BUFF_MAX);

  /* Infinite loop */
  for(;;)
  {
		if(usart_rx_cplt) {
			HAL_GPIO_WritePin(RS485_RX_LED_GPIO_Port, RS485_RX_LED_Pin, GPIO_PIN_RESET);
			receive_cnt = RS485_BUFF_MAX-hdma_usart1_rx.Instance->CNDTR;
			HAL_UART_DMAStop(&huart1);
			addr = get_rs485_addr();

			if(receive_cnt == 8) {
				if((memcmp((const char *)usart_buff, cmd_read_statu1, receive_cnt) == 0) && (addr == 1)) {
					response_buff[0] = usart_buff[0];
					response_buff[1] = usart_buff[1];
					response_buff[2] = 0x02;
					response_buff[3] = 0;
					response_buff[4] = (ac_state.pump1_stop<<0) | (ac_state.ac_sw1<<1)\
													 | (ac_state.pump1_fail<<2) | (ac_state.pump1_start<<3)\
													 | (ac_state.pump2_stop<<4) | (ac_state.ac_sw2<<5) \
													 | (ac_state.pump2_fail<<6) | (ac_state.pump2_start<<7);
					mb_crc = mb_crc16(response_buff, 5);
					response_buff[5] = mb_crc & 0xFF;
					response_buff[6] = mb_crc >> 8;
					HAL_UART_Transmit_IT(&huart1, response_buff, 7);
					HAL_GPIO_WritePin(RS485_TX_LED_GPIO_Port, RS485_TX_LED_Pin, GPIO_PIN_RESET);
				} else if((memcmp((const char *)usart_buff, cmd_read_pres1, receive_cnt) == 0) && (addr == 1)) {
				int16_t pres = get_pres(1);
					pres = (pres < 0) ? 0 : pres;
					response_buff[0] = usart_buff[0];
					response_buff[1] = usart_buff[1];
					response_buff[2] = 0x02;
					response_buff[3] = pres>>8;
					response_buff[4] = pres&0xFF;
					mb_crc = mb_crc16(response_buff, 5);
					response_buff[5] = mb_crc & 0xFF;
					response_buff[6] = mb_crc >> 8;
					HAL_UART_Transmit_IT(&huart1, response_buff, 7);
					HAL_GPIO_WritePin(RS485_TX_LED_GPIO_Port, RS485_TX_LED_Pin, GPIO_PIN_RESET);
				} else if((memcmp((const char *)usart_buff, cmd_read_pres2, receive_cnt) == 0) && (addr == 1)) {
				int16_t pres = get_pres(2);
					pres = (pres < 0) ? 0 : pres;
					response_buff[0] = usart_buff[0];
					response_buff[1] = usart_buff[1];
					response_buff[2] = 0x02;
					response_buff[3] = pres>>8;
					response_buff[4] = pres&0xFF;
					mb_crc = mb_crc16(response_buff, 5);
					response_buff[5] = mb_crc & 0xFF;
					response_buff[6] = mb_crc >> 8;
					HAL_UART_Transmit_IT(&huart1, response_buff, 7);
					HAL_GPIO_WritePin(RS485_TX_LED_GPIO_Port, RS485_TX_LED_Pin, GPIO_PIN_RESET);
				} else if((memcmp((const char *)usart_buff, cmd_read_statu2, receive_cnt) == 0) && (addr == 2)) {
					response_buff[0] = usart_buff[0];
					response_buff[1] = usart_buff[1];
					response_buff[2] = 0x02;
					response_buff[3] = 0;
					response_buff[4] = (ac_state.pump1_stop<<0) | (ac_state.ac_sw1<<1) | (ac_state.pump1_fail<<2) | (ac_state.pump1_start)\
													 | (ac_state.pump2_stop<<4) | (ac_state.ac_sw2<<5) | (ac_state.pump2_fail<<6) | (ac_state.pump2_start);
					mb_crc = mb_crc16(response_buff, 5);
					response_buff[5] = mb_crc & 0xFF;
					response_buff[6] = mb_crc >> 8;
					HAL_UART_Transmit_IT(&huart1, response_buff, 7);
					HAL_GPIO_WritePin(RS485_TX_LED_GPIO_Port, RS485_TX_LED_Pin, GPIO_PIN_RESET);
				} else if((memcmp((const char *)usart_buff, cmd_read_pres3, receive_cnt) == 0) && (addr == 2)) {
				int16_t pres = get_pres(1);
					pres = (pres < 0) ? 0 : pres;
					response_buff[0] = usart_buff[0];
					response_buff[1] = usart_buff[1];
					response_buff[2] = 0x02;
					response_buff[3] = pres>>8;
					response_buff[4] = pres&0xFF;
					mb_crc = mb_crc16(response_buff, 5);
					response_buff[5] = mb_crc & 0xFF;
					response_buff[6] = mb_crc >> 8;
					HAL_UART_Transmit_IT(&huart1, response_buff, 7);
					HAL_GPIO_WritePin(RS485_TX_LED_GPIO_Port, RS485_TX_LED_Pin, GPIO_PIN_RESET);
				} else if((memcmp((const char *)usart_buff, cmd_read_pres4, receive_cnt) == 0) && (addr == 2)) {
				int16_t pres = get_pres(2);
					pres = (pres < 0) ? 0 : pres;
					response_buff[0] = usart_buff[0];
					response_buff[1] = usart_buff[1];
					response_buff[2] = 0x02;
					response_buff[3] = pres>>8;
					response_buff[4] = pres&0xFF;
					mb_crc = mb_crc16(response_buff, 5);
					response_buff[5] = mb_crc & 0xFF;
					response_buff[6] = mb_crc >> 8;
					HAL_UART_Transmit_IT(&huart1, response_buff, 7);
					HAL_GPIO_WritePin(RS485_TX_LED_GPIO_Port, RS485_TX_LED_Pin, GPIO_PIN_RESET);
				} else if(((memcmp((const char *)usart_buff, cmd_read_all1, receive_cnt) == 0) && (addr == 1)) \
							|| ((memcmp((const char *)usart_buff, cmd_read_all2, receive_cnt) == 0) && (addr == 2))){
					memset(response_buff, 0, 40);
					sprintf((char *)response_buff, "B %s %s %03d %04d %04d %04d %02d ", HW_VER, FW_VER, get_ac220(), \
									get_pres(1), get_pres(2), get_ac_state().val, get_dc_state().val);
					HAL_UART_Transmit_IT(&huart1, response_buff, 40);
					HAL_GPIO_WritePin(RS485_TX_LED_GPIO_Port, RS485_TX_LED_Pin, GPIO_PIN_RESET);
				} else if(((memcmp((const char *)usart_buff, cmd_read_para1, receive_cnt) == 0) && (addr == 1)) \
							|| ((memcmp((const char *)usart_buff, cmd_read_para2, receive_cnt) == 0) && (addr == 2))){
						memset(response_buff, 0, 32);
						response_buff[0] = 'R';
						memcpy(response_buff+1, &sys_para, sizeof(s_sys_para));
						HAL_UART_Transmit_IT(&huart1, response_buff, 32);
						HAL_GPIO_WritePin(RS485_TX_LED_GPIO_Port, RS485_TX_LED_Pin, GPIO_PIN_RESET);
						HAL_TIM_PWM_Start(&htim16, TIM_CHANNEL_1);
				}
			} else if(receive_cnt == 32) {
			FLASH_EraseInitTypeDef EraseInitStruct;
			uint32_t PageError;
				if(((memcmp((const char *)usart_buff, cmd_write_para1, 8) == 0) && (addr == 1)) \
							|| ((memcmp((const char *)usart_buff, cmd_write_para2, 8) == 0) && (addr == 2))){
						memset(response_buff, 0, 32);
						HAL_FLASH_Unlock();
						EraseInitStruct.TypeErase = FLASH_TYPEERASE_PAGES;
						EraseInitStruct.PageAddress = parama_save_addr;
						EraseInitStruct.NbPages = 1;
						HAL_FLASHEx_Erase(&EraseInitStruct, &PageError);
					  memcpy(&sys_para, usart_buff+8, sizeof(s_sys_para));
						for(uint8_t i=0; i<sizeof(s_sys_para)/4; i++) {
							HAL_FLASH_Program(FLASH_TYPEPROGRAM_WORD, parama_save_addr+i*4, ((uint32_t *)&sys_para)[i]);
						}
						HAL_FLASH_Lock();
						HAL_UART_Transmit_IT(&huart1, response_buff, 8);
						HAL_GPIO_WritePin(RS485_TX_LED_GPIO_Port, RS485_TX_LED_Pin, GPIO_PIN_RESET);
						HAL_TIM_PWM_Start(&htim16, TIM_CHANNEL_1);
				}
			}

			usart_rx_cplt = 0;
			HAL_UART_Receive_DMA(&huart1, usart_buff, RS485_BUFF_MAX);
		}
    osDelayUntil(&PreviousWakeTime, 20);
		HAL_TIM_PWM_Stop(&htim16, TIM_CHANNEL_1);
		HAL_GPIO_WritePin(RS485_RX_LED_GPIO_Port, RS485_RX_LED_Pin, GPIO_PIN_SET);
		HAL_GPIO_WritePin(RS485_TX_LED_GPIO_Port, RS485_TX_LED_Pin, GPIO_PIN_SET);
  }
  /* USER CODE END sampleTask */
}

void DisplayTask(void const * argument)
{
  /* USER CODE BEGIN DisplayTask */
volatile u_led led;
uint32_t PreviousWakeTime = osKernelSysTick();

	led = hc595_init();

  /* Infinite loop */
  for(;;)
  {
		ac_state = get_ac_state();
		//AC voltage 220V with 20% offset
		if((avg_ac>=594) && (avg_ac<=891)) {
			ac_state.ac_pwr = 1;
		}
		dc_state = get_dc_state();
		led.val = 0;
		//AC indicator leds

		if(ac_state.ac_pwr) {
			led.pump_pwr = 1;
		} else {
			led.pump_pwr = 0;
		}

		if(ac_state.pump1_fail) {
			led.pump1_green = led.pump1_red = 1;
		} else {
			led.pump1_green = ac_state.pump1_start ? 1 : 0;
			led.pump1_red = ac_state.pump1_stop ? 1 : 0;
		}
		if(ac_state.pump2_fail) {
			led.pump2_green = led.pump2_red = 1;
		} else {
			led.pump2_green = ac_state.pump2_start ? 1 : 0;
			led.pump2_red = ac_state.pump2_stop ? 1 : 0;
		}
		//pump3 no fail signal
		led.pump3_green = ac_state.pump3_start ? 1 : 0;
		led.pump3_red = ac_state.pump3_stop ? 1 : 0;

		//DC indicator leds
		led.volt_in1 = dc_state.di_ext_in1 ? 1 : 0;
		led.volt_in2 = dc_state.di_ext_in2 ? 1 : 0;

		//led on when current between 4~20mA.
		if((avg_cs1>=496)&&(avg_cs1<=2482)) {
			led.curr_in1 = 1;
		} else {
			led.curr_in1 = 0;
		}
		if((avg_cs2>=496)&&(avg_cs2<=2482)) {
			led.curr_in2 = 1;
		} else {
			led.curr_in2 = 0;
		}

		if((get_pres(1) < sys_para.pres1_min) || (get_pres(1) > sys_para.pres1_max) || \
			 (get_pres(2) < sys_para.pres2_min) || (get_pres(2) > sys_para.pres2_max)) {
			led.sys_err = 1;
		} else {
			led.sys_err = 0;
		}

		hc595_write(led.val);
    osDelayUntil(&PreviousWakeTime, 100);
  }
  /* USER CODE END DisplayTask */
}

void HAL_TIM_PeriodElapsedCallback(TIM_HandleTypeDef *htim)
{
  if (htim->Instance == TIM6) {
    HAL_IncTick();
  }
}

void _Error_Handler(char *file, int line)
{
  while(1)
  {
  }
}

/************************ (C) COPYRIGHT STMicroelectronics *****END OF FILE****/

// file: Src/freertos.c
/* USER CODE BEGIN Header */
/**
  ******************************************************************************
  * File Name          : freertos.c
  * Description        : Code for freertos applications
  ******************************************************************************
  * This notice applies to any and all portions of this file
  * that are not between comment pairs USER CODE BEGIN and
  * USER CODE END. Other portions of this file, whether
  * inserted by the user or by software development tools
  * are owned by their respective copyright owners.
  *
  * Copyright (c) 2018 STMicroelectronics International N.V.
  * All rights reserved.
  *
  * Redistribution and use in source and binary forms, with or without
  * modification, are permitted, provided that the following conditions are met:
  *
  * 1. Redistribution of source code must retain the above copyright notice,
  *    this list of conditions and the following disclaimer.
  * 2. Redistributions in binary form must reproduce the above copyright notice,
  *    this list of conditions and the following disclaimer in the documentation
  *    and/or other materials provided with the distribution.
  * 3. Neither the name of STMicroelectronics nor the names of other
  *    contributors to this software may be used to endorse or promote products
  *    derived from this software without specific written permission.
  * 4. This software, including modifications and/or derivative works of this
  *    software, must execute solely and exclusively on microcontroller or
  *    microprocessor devices manufactured by or for STMicroelectronics.
  * 5. Redistribution and use of this software other than as permitted under
  *    this license is void and will automatically terminate your rights under
  *    this license.
  *
  * THIS SOFTWARE IS PROVIDED BY STMICROELECTRONICS AND CONTRIBUTORS "AS IS"
  * AND ANY EXPRESS, IMPLIED OR STATUTORY WARRANTIES, INCLUDING, BUT NOT
  * LIMITED TO, THE IMPLIED WARRANTIES OF MERCHANTABILITY, FITNESS FOR A
  * PARTICULAR PURPOSE AND NON-INFRINGEMENT OF THIRD PARTY INTELLECTUAL PROPERTY
  * RIGHTS ARE DISCLAIMED TO THE FULLEST EXTENT PERMITTED BY LAW. IN NO EVENT
  * SHALL STMICROELECTRONICS OR CONTRIBUTORS BE LIABLE FOR ANY DIRECT, INDIRECT,
  * INCIDENTAL, SPECIAL, EXEMPLARY, OR CONSEQUENTIAL DAMAGES (INCLUDING, BUT NOT
  * LIMITED TO, PROCUREMENT OF SUBSTITUTE GOODS OR SERVICES; LOSS OF USE, DATA,
  * OR PROFITS; OR BUSINESS INTERRUPTION) HOWEVER CAUSED AND ON ANY THEORY OF
  * LIABILITY, WHETHER IN CONTRACT, STRICT LIABILITY, OR TORT (INCLUDING
  * NEGLIGENCE OR OTHERWISE) ARISING IN ANY WAY OUT OF THE USE OF THIS SOFTWARE,
  * EVEN IF ADVISED OF THE POSSIBILITY OF SUCH DAMAGE.
  *
  ******************************************************************************
  */
/* USER CODE END Header */

#include "FreeRTOS.h"
#include "task.h"
#include "main.h"

/* GetIdleTaskMemory prototype (linked to static allocation support) */
void vApplicationGetIdleTaskMemory( StaticTask_t **ppxIdleTaskTCBBuffer, StackType_t **ppxIdleTaskStackBuffer, uint32_t *pulIdleTaskStackSize );

/* USER CODE BEGIN GET_IDLE_TASK_MEMORY */
static StaticTask_t xIdleTaskTCBBuffer;
static StackType_t xIdleStack[configMINIMAL_STACK_SIZE];

void vApplicationGetIdleTaskMemory( StaticTask_t **ppxIdleTaskTCBBuffer, StackType_t **ppxIdleTaskStackBuffer, uint32_t *pulIdleTaskStackSize )
{
  *ppxIdleTaskTCBBuffer = &xIdleTaskTCBBuffer;
  *ppxIdleTaskStackBuffer = &xIdleStack[0];
  *pulIdleTaskStackSize = configMINIMAL_STACK_SIZE;
  /* place for user code */
}
/* USER CODE END GET_IDLE_TASK_MEMORY */

/************************ (C) COPYRIGHT STMicroelectronics *****END OF FILE****/
